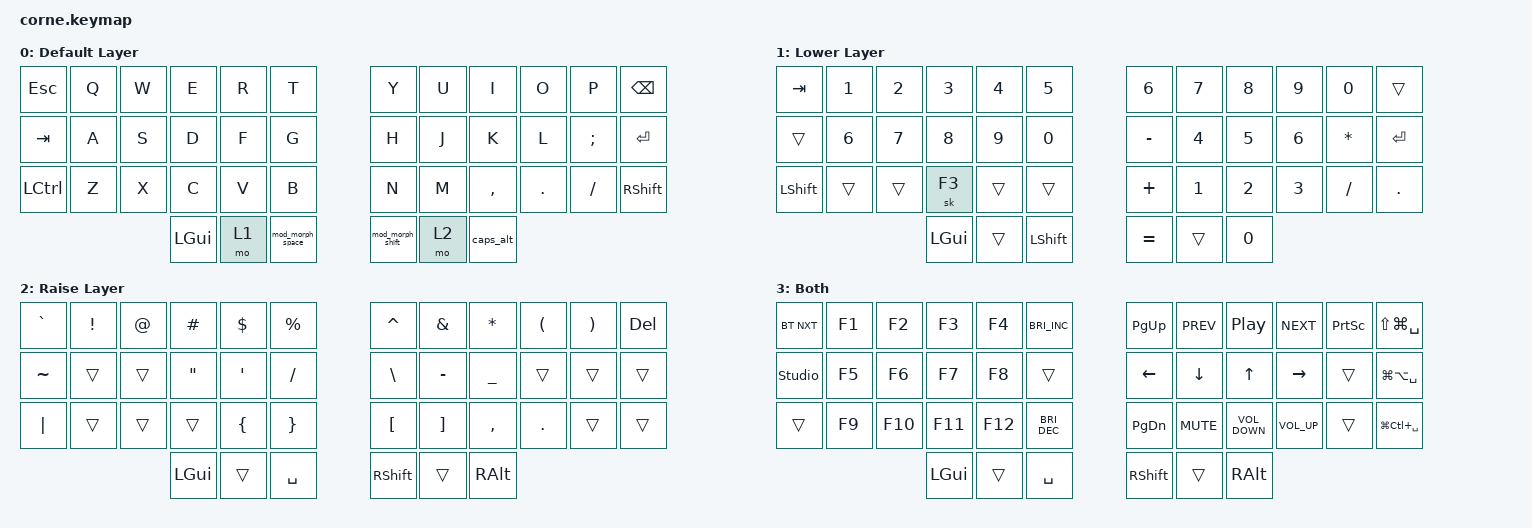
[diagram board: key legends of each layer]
/*
 * Copyright (c) 2020 The ZMK Contributors
 *
 * SPDX-License-Identifier: MIT
 */

#include <behaviors.dtsi>
#include <dt-bindings/zmk/bt.h>
#include <dt-bindings/zmk/keys.h>

/ {
    combos {
        compatible = "zmk,combos";

        L_Alt {
            bindings = <&kp LEFT_ALT>;
            key-positions = <13 14>;
            slow-release;
            timeout-ms = <25>;
            require-prior-idle-ms = <500>;
        };

        L_Ctrl {
            bindings = <&kp LEFT_CONTROL>;
            key-positions = <15 16>;
            slow-release;
            require-prior-idle-ms = <500>;
            timeout-ms = <25>;
        };

        l_parenthesis {
            bindings = <&kp LEFT_PARENTHESIS>;
            key-positions = <7 8>;
            timeout-ms = <25>;
            require-prior-idle-ms = <300>;
            slow-release;
            layers = <2>;
        };

        r_parenthesis {
            bindings = <&kp RIGHT_PARENTHESIS>;
            key-positions = <9 10>;
            timeout-ms = <25>;
            require-prior-idle-ms = <300>;
            slow-release;
            layers = <2>;
        };

        l_bracket {
            bindings = <&kp LEFT_BRACKET>;
            key-positions = <31 32>;
            timeout-ms = <25>;
            require-prior-idle-ms = <300>;
            slow-release;
            layers = <2>;
        };

        r_bracket {
            bindings = <&kp RIGHT_BRACKET>;
            key-positions = <33 34>;
            timeout-ms = <25>;
            require-prior-idle-ms = <300>;
            slow-release;
            layers = <2>;
        };

        l_brace {
            bindings = <&kp LEFT_BRACE>;
            key-positions = <19 20>;
            timeout-ms = <25>;
            require-prior-idle-ms = <300>;
            slow-release;
            layers = <2>;
        };

        r_brace {
            bindings = <&kp RIGHT_BRACE>;
            key-positions = <21 22>;
            timeout-ms = <25>;
            require-prior-idle-ms = <300>;
            slow-release;
            layers = <2>;
        };
    };

    behaviors {
        caps_alt: caps_alt {
            compatible = "zmk,behavior-tap-dance";
            label = "CAPS_ALT";
            #binding-cells = <0>;
            bindings = <&kp CAPSLOCK>, <&kp RIGHT_ALT>;
        };

        mod_morph_space: mod_morph_space {
            compatible = "zmk,behavior-mod-morph";
            label = "MOD_MORPH_SPACE";
            bindings = <&kp SPACE>, <&kp LEFT_SHIFT>;

            #binding-cells = <0>;
            mods = <(MOD_LGUI)>;
        };

        mod_morph_shift: mod_morph_shift {
            compatible = "zmk,behavior-mod-morph";
            label = "MOD_MORPH_SHIFT";
            bindings = <&kp RIGHT_SHIFT>, <&kp SPACE>;

            #binding-cells = <0>;
            mods = <(MOD_LGUI)>;
        };
    };

    keymap {
        compatible = "zmk,keymap";

        default_layer {
            display-name = "Default Layer";
            bindings = <
&kp ESCAPE  &kp Q  &kp W  &kp E     &kp R  &kp T               &kp Y             &kp U  &kp I      &kp O    &kp P     &kp BACKSPACE
&kp TAB     &kp A  &kp S  &kp D     &kp F  &kp G               &kp H             &kp J  &kp K      &kp L    &kp SEMI  &kp ENTER
&kp LCTRL   &kp Z  &kp X  &kp C     &kp V  &kp B               &kp N             &kp M  &kp COMMA  &kp DOT  &kp FSLH  &kp RIGHT_SHIFT
                          &kp LGUI  &mo 1  &mod_morph_space    &mod_morph_shift  &mo 2  &caps_alt
            >;
        };

        lower_layer {
            display-name = "Lower Layer";
            bindings = <
&kp TAB    &kp N1  &kp N2  &kp N3    &kp N4  &kp N5            &kp N6     &kp N7  &kp N8  &kp N9        &kp N0        &trans
&trans     &kp N6  &kp N7  &kp N8    &kp N9  &kp N0            &kp MINUS  &kp N4  &kp N5  &kp N6        &kp ASTERISK  &kp ENTER
&kp LSHFT  &trans  &trans  &sk F3    &trans  &trans            &kp PLUS   &kp N1  &kp N2  &kp NUMBER_3  &kp FSLH      &kp PERIOD
                           &kp LGUI  &trans  &kp LEFT_SHIFT    &kp EQUAL  &trans  &kp N0
            >;
        };

        raise_layer {
            display-name = "Raise Layer";
            bindings = <
&kp GRAVE  &kp EXCL  &kp AT  &kp HASH           &kp DLLR        &kp PRCNT          &kp CARET         &kp AMPS           &kp ASTRK       &kp LPAR    &kp RPAR  &kp DELETE
&kp TILDE  &trans    &trans  &kp DOUBLE_QUOTES  &kp APOS        &kp SLASH          &kp BACKSLASH     &kp MINUS          &kp UNDERSCORE  &trans      &trans    &trans
&kp PIPE   &trans    &trans  &trans             &kp LEFT_BRACE  &kp RIGHT_BRACE    &kp LEFT_BRACKET  &kp RIGHT_BRACKET  &kp COMMA       &kp PERIOD  &trans    &trans
                             &kp LGUI           &trans          &kp SPACE          &kp RIGHT_SHIFT   &trans             &kp RALT
            >;
        };

        Both {
            bindings = <
&bt BT_NXT      &kp F1  &kp F2   &kp F3    &kp F4   &kp C_BRIGHTNESS_INC    &kp PAGE_UP      &kp C_PREV  &kp C_PLAY_PAUSE   &kp C_NEXT       &kp PRINTSCREEN  &kp LS(LG(SPACE))
&studio_unlock  &kp F5  &kp F6   &kp F7    &kp F8   &trans                  &kp LEFT         &kp DOWN    &kp UP_ARROW       &kp RIGHT        &trans           &kp LG(LA(SPACE))
&trans          &kp F9  &kp F10  &kp F11   &kp F12  &kp C_BRIGHTNESS_DEC    &kp PAGE_DOWN    &kp C_MUTE  &kp C_VOLUME_DOWN  &kp C_VOLUME_UP  &trans           &kp LG(LC(SPACE))
                                 &kp LGUI  &trans   &kp SPACE               &kp RIGHT_SHIFT  &trans      &kp RIGHT_ALT
            >;
        };
    };

    conditional_layers {
        compatible = "zmk,conditional-layers";

        activate_both {
            if-layers = <1 2>;
            then-layer = <3>;
        };
    };
};
